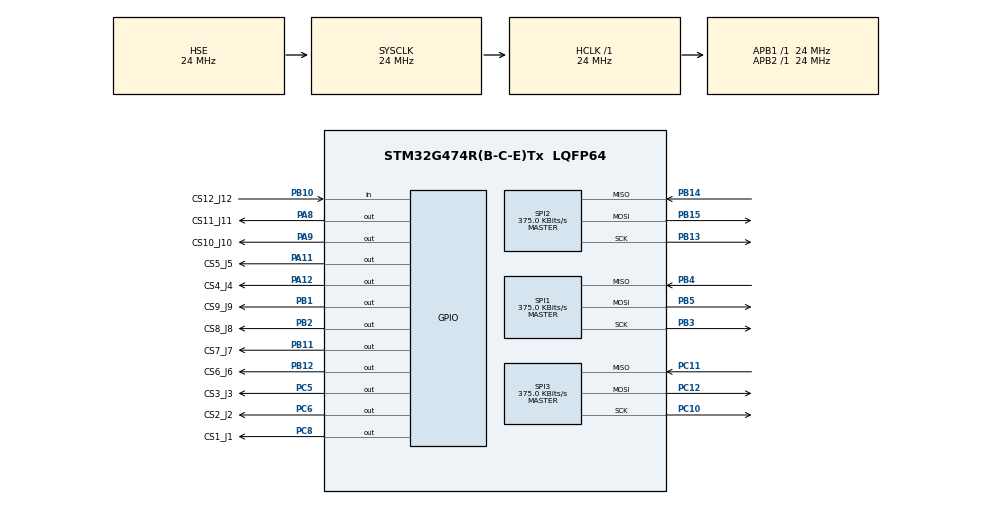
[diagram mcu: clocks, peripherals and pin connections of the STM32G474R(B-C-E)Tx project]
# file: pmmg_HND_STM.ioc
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Mcu.Family=STM32G4
Mcu.Name=STM32G474R(B-C-E)Tx
Mcu.Package=LQFP64
NUCLEO-G474RE.BUTTON=1
NUCLEO-G474RE.LD2=true
NUCLEO-G474RE.VCP=true
NVIC.EXTI15_10_IRQn=true\:0\:0\:false\:false\:true\:false\:true\:true
NVIC.PriorityGroup=NVIC_PRIORITYGROUP_4
PA11.GPIO_Label=CS5_J5
PA11.GPIO_ModeDefaultOutputPP=GPIO_MODE_OUTPUT_PP
PA11.GPIO_PuPd=GPIO_NOPULL
PA11.GPIO_Speed=GPIO_SPEED_FREQ_LOW
PA11.PinState=GPIO_PIN_SET
PA11.Signal=GPIO_Output
PA12.GPIO_Label=CS4_J4
PA12.GPIO_ModeDefaultOutputPP=GPIO_MODE_OUTPUT_PP
PA12.GPIO_PuPd=GPIO_NOPULL
PA12.GPIO_Speed=GPIO_SPEED_FREQ_LOW
PA12.PinState=GPIO_PIN_SET
PA12.Signal=GPIO_Output
PA13.GPIO_Label=T_SWDIO
PA13.Mode=Serial_Wire
PA13.Signal=SYS_JTMS-SWDIO
PA14.GPIO_Label=T_SWCLK
PA14.Mode=Serial_Wire
PA14.Signal=SYS_JTCK-SWCLK
PA2.Signal=LPUART1_TX
PA3.Signal=LPUART1_RX
PA8.GPIO_Label=CS11_J11
PA8.GPIO_ModeDefaultOutputPP=GPIO_MODE_OUTPUT_PP
PA8.GPIO_PuPd=GPIO_NOPULL
PA8.GPIO_Speed=GPIO_SPEED_FREQ_LOW
PA8.PinState=GPIO_PIN_SET
PA8.Signal=GPIO_Output
PA9.GPIO_Label=CS10_J10
PA9.GPIO_ModeDefaultOutputPP=GPIO_MODE_OUTPUT_PP
PA9.GPIO_PuPd=GPIO_NOPULL
PA9.GPIO_Speed=GPIO_SPEED_FREQ_LOW
PA9.PinState=GPIO_PIN_SET
PA9.Signal=GPIO_Output
PB1.GPIO_Label=CS9_J9
PB1.GPIO_ModeDefaultOutputPP=GPIO_MODE_OUTPUT_PP
PB1.GPIO_PuPd=GPIO_NOPULL
PB1.GPIO_Speed=GPIO_SPEED_FREQ_LOW
PB1.PinState=GPIO_PIN_SET
PB1.Signal=GPIO_Output
PB10.GPIO_Label=CS12_J12
PB10.GPIO_PuPd=GPIO_NOPULL
PB10.Signal=GPIO_Input
PB11.GPIO_Label=CS7_J7
PB11.GPIO_ModeDefaultOutputPP=GPIO_MODE_OUTPUT_PP
PB11.GPIO_PuPd=GPIO_NOPULL
PB11.GPIO_Speed=GPIO_SPEED_FREQ_LOW
PB11.PinState=GPIO_PIN_SET
PB11.Signal=GPIO_Output
PB12.GPIO_Label=CS6_J6
PB12.GPIO_ModeDefaultOutputPP=GPIO_MODE_OUTPUT_PP
PB12.GPIO_PuPd=GPIO_NOPULL
PB12.GPIO_Speed=GPIO_SPEED_FREQ_LOW
PB12.PinState=GPIO_PIN_SET
PB12.Signal=GPIO_Output
PB13.Mode=Full_Duplex_Master
PB13.Signal=SPI2_SCK
PB14.Mode=Full_Duplex_Master
PB14.Signal=SPI2_MISO
PB15.Mode=Full_Duplex_Master
PB15.Signal=SPI2_MOSI
PB2.GPIO_Label=CS8_J8
PB2.GPIO_ModeDefaultOutputPP=GPIO_MODE_OUTPUT_PP
PB2.GPIO_PuPd=GPIO_NOPULL
PB2.GPIO_Speed=GPIO_SPEED_FREQ_LOW
PB2.PinState=GPIO_PIN_SET
PB2.Signal=GPIO_Output
PB3.Mode=Full_Duplex_Master
PB3.Signal=SPI1_SCK
PB4.Mode=Full_Duplex_Master
PB4.Signal=SPI1_MISO
PB5.Mode=Full_Duplex_Master
PB5.Signal=SPI1_MOSI
PC10.Mode=Full_Duplex_Master
PC10.Signal=SPI3_SCK
PC11.Mode=Full_Duplex_Master
PC11.Signal=SPI3_MISO
PC12.Mode=Full_Duplex_Master
PC12.Signal=SPI3_MOSI
PC14-OSC32_IN.GPIO_Label=RCC_OSC32_IN
PC14-OSC32_IN.Signal=RCC_OSC32_IN
PC15-OSC32_OUT.GPIO_Label=RCC_OSC32_OUT
PC15-OSC32_OUT.Signal=RCC_OSC32_OUT
PC5.GPIO_Label=CS3_J3
PC5.GPIO_ModeDefaultOutputPP=GPIO_MODE_OUTPUT_PP
PC5.GPIO_PuPd=GPIO_NOPULL
PC5.GPIO_Speed=GPIO_SPEED_FREQ_LOW
PC5.PinState=GPIO_PIN_SET
PC5.Signal=GPIO_Output
PC6.GPIO_Label=CS2_J2
PC6.GPIO_ModeDefaultOutputPP=GPIO_MODE_OUTPUT_PP
PC6.GPIO_PuPd=GPIO_NOPULL
PC6.GPIO_Speed=GPIO_SPEED_FREQ_LOW
PC6.PinState=GPIO_PIN_SET
PC6.Signal=GPIO_Output
PC8.GPIO_Label=CS1_J1
PC8.GPIO_ModeDefaultOutputPP=GPIO_MODE_OUTPUT_PP
PC8.GPIO_PuPd=GPIO_NOPULL
PC8.GPIO_Speed=GPIO_SPEED_FREQ_LOW
PC8.PinState=GPIO_PIN_SET
PC8.Signal=GPIO_Output
PF0-OSC_IN.GPIO_Label=RCC_OSC_IN
PF0-OSC_IN.Mode=HSE-External-Oscillator
PF0-OSC_IN.Signal=RCC_OSC_IN
PF1-OSC_OUT.GPIO_Label=RCC_OSC_OUT
PF1-OSC_OUT.Mode=HSE-External-Oscillator
PF1-OSC_OUT.Signal=RCC_OSC_OUT
ProjectManager.HeapSize=0x200
ProjectManager.StackSize=0x400
ProjectManager.TargetToolchain=STM32CubeIDE
RCC.ADC12Freq_Value=24000000
RCC.ADC345Freq_Value=24000000
RCC.AHBFreq_Value=24000000
RCC.APB1Freq_Value=24000000
RCC.APB1TimFreq_Value=24000000
RCC.APB2Freq_Value=24000000
RCC.APB2TimFreq_Value=24000000
RCC.CortexFreq_Value=24000000
RCC.EXTERNAL_CLOCK_VALUE=12288000
RCC.HCLKFreq_Value=24000000
RCC.HSE_VALUE=24000000
RCC.HSI48_VALUE=48000000
RCC.HSI_VALUE=16000000
RCC.LSE_VALUE=32768
RCC.PLLM=RCC_PLLM_DIV4
RCC.PLLN=85
RCC.RTCClockSelection=RCC_RTCCLKSOURCE_LSE
RCC.SYSCLKFreq_VALUE=24000000
RCC.SYSCLKSource=RCC_SYSCLKSOURCE_HSE
RCC.USBFreq_Value=170000000
RCC.VCOOutputFreq_Value=340000000
SPI1.BaudRatePrescaler=SPI_BAUDRATEPRESCALER_64
SPI1.CalculateBaudRate=375.0 KBits/s
SPI1.DataSize=SPI_DATASIZE_8BIT
SPI1.Direction=SPI_DIRECTION_2LINES
SPI1.Mode=SPI_MODE_MASTER
SPI1.NSSPMode=SPI_NSS_PULSE_DISABLE
SPI1.VirtualType=VM_MASTER
SPI2.BaudRatePrescaler=SPI_BAUDRATEPRESCALER_64
SPI2.CalculateBaudRate=375.0 KBits/s
SPI2.DataSize=SPI_DATASIZE_8BIT
SPI2.Direction=SPI_DIRECTION_2LINES
SPI2.Mode=SPI_MODE_MASTER
SPI2.NSSPMode=SPI_NSS_PULSE_DISABLE
SPI2.VirtualType=VM_MASTER
SPI3.BaudRatePrescaler=SPI_BAUDRATEPRESCALER_64
SPI3.CalculateBaudRate=375.0 KBits/s
SPI3.DataSize=SPI_DATASIZE_8BIT
SPI3.Direction=SPI_DIRECTION_2LINES
SPI3.Mode=SPI_MODE_MASTER
SPI3.NSSPMode=SPI_NSS_PULSE_DISABLE
SPI3.VirtualType=VM_MASTER
VP_NUCLEO-G474RE_VS_BSP_COMMON.Mode=COMMON
VP_SYS_VS_DBSignals.Mode=DisableDeadBatterySignals
board=NUCLEO-G474RE

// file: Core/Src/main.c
/* USER CODE BEGIN Header */
/**
  ******************************************************************************
  * @file           : main.c
  * @brief          : Main program body
  *
  * Application overview:
  * Generated HAL, clocks, GPIO, SPI and BSP initialization runs first. The user
  * application then starts LD2 status indication and the MS5607 driver. Each
  * main-loop pass services sensor acquisition; LED updates use the HAL ms tick.
  * Sensor configuration is in ms5607.h/ms5607.c. A zero sensor mask leaves
  * the 500 ms ON / 500 ms OFF heartbeat active for board-only testing.
  * The shared 1 MHz TIM2 timebase starts first; the sync input then takes over
  * J12/PB10 (a GPIO input from reset) for TIM2 capture of XM pulses
  * (sync_input.h). The Nucleo never drives PB10 while the sync input is enabled.
  * The stream module sends binary frames through the ST-LINK USB VCP, including
  * periodic status snapshots when sensors are disabled. SPI/UART callbacks below
  * forward completion events. B1 (user button) is the sensor re-init control: an
  * accepted press is marked in the stream and requests a re-init of all enabled
  * sensors; LD2 stays on while it runs. Application changes remain in USER CODE
  * sections.
  ******************************************************************************
  * @attention
  *
  * Copyright (c) 2026 STMicroelectronics.
  * All rights reserved.
  *
  * This software is licensed under terms that can be found in the LICENSE file
  * in the root directory of this software component.
  * If no LICENSE file comes with this software, it is provided AS-IS.
  *
  ******************************************************************************
  */
/* USER CODE END Header */
#include "main.h"

/* USER CODE BEGIN Includes */
#include "ms5607.h"
#include "status_led.h"
#include "stream.h"
#include "sync_input.h"
#include "timebase.h"
/* USER CODE END Includes */

COM_InitTypeDef BspCOMInit;
SPI_HandleTypeDef hspi1;
SPI_HandleTypeDef hspi2;
SPI_HandleTypeDef hspi3;

void SystemClock_Config(void);
static void MX_GPIO_Init(void);
static void MX_SPI1_Init(void);
static void MX_SPI2_Init(void);
static void MX_SPI3_Init(void);

int main(void)
{

  /* MCU Configuration--------------------------------------------------------*/

  /* Reset of all peripherals, Initializes the Flash interface and the Systick. */
  HAL_Init();

  /* Configure the system clock */
  SystemClock_Config();

  /* Initialize all configured peripherals */
  MX_GPIO_Init();
  MX_SPI1_Init();
  MX_SPI2_Init();
  MX_SPI3_Init();

  /* Initialize led */
  BSP_LED_Init(LED_GREEN);

  /* Initialize USER push-button, will be used to trigger an interrupt each time it's pressed.*/
  BSP_PB_Init(BUTTON_USER, BUTTON_MODE_EXTI);

  /* Initialize COM1 port (115200, 8 bits (7-bit data + 1 stop bit), no parity */
  BspCOMInit.BaudRate   = 115200;
  BspCOMInit.WordLength = COM_WORDLENGTH_8B;
  BspCOMInit.StopBits   = COM_STOPBITS_1;
  BspCOMInit.Parity     = COM_PARITY_NONE;
  BspCOMInit.HwFlowCtl  = COM_HWCONTROL_NONE;
  if (BSP_COM_Init(COM1, &BspCOMInit) != BSP_ERROR_NONE)
  {
    Error_Handler();
  }

  /* Infinite loop */
  /* USER CODE BEGIN WHILE */
  /* Application startup must follow BSP LED/COM initialization above.
   * Sensor selection and sampling rate are configured in ms5607.h.
   * Its zero mask gives no SPI traffic. Streaming still reports disabled slots.
   * stream.c sets the VCP streaming baud after the generated BSP initialization. */
  status_led_init();
  (void)timebase_init(); /* Once per boot; a failure is reported by each enabled user below. */
  sync_input_init();     /* Before the sensor driver, which must not drive PB10. */
  ms5607_init(&hspi1, &hspi2, &hspi3);
  (void)stream_init(&hcom_uart[COM1]); /* Failure is reported through the LED/diagnostics. */
  uint32_t last_led_ms = HAL_GetTick(); /* Last tick serviced by the LED module. */
  while (1)
  {

    /* USER CODE END WHILE */

    /* USER CODE BEGIN 3 */
    ms5607_process(); /* No bus traffic while the driver enabled mask is zero. */
    sync_input_process(); /* Pair captured XM edges before the stream takes markers. */
    stream_process(); /* Consume new frames and service queued UART DMA output. */
    uint32_t now_ms = HAL_GetTick(); /* Current tick; only LED work is gated at 1 ms. */
    if (now_ms != last_led_ms)
    {
      last_led_ms = now_ms;
      MS5607_Status status = ms5607_status(); /* Sensor activity, re-init or current/recent fault. */
      StatusLedMode led_mode = STATUS_LED_IDLE; /* Selected LD2 pattern, idle by default. */
      if (status == MS5607_REINITIALIZING) /* B1 acknowledgement; status_led keeps it >= 500 ms. */
        led_mode = STATUS_LED_REINIT;
      else if (status == MS5607_FAULT || stream_faulted())
        led_mode = STATUS_LED_FAULT;
      else if (status == MS5607_ACQUIRING)
        led_mode = STATUS_LED_ACQUIRING;
      status_led_update(led_mode, now_ms);
    }
  }
  /* USER CODE END 3 */
}

void SystemClock_Config(void)
{
  RCC_OscInitTypeDef RCC_OscInitStruct = {0};
  RCC_ClkInitTypeDef RCC_ClkInitStruct = {0};

  /** Configure the main internal regulator output voltage
  */
  HAL_PWREx_ControlVoltageScaling(PWR_REGULATOR_VOLTAGE_SCALE1);

  /** Initializes the RCC Oscillators according to the specified parameters
  * in the RCC_OscInitTypeDef structure.
  */
  RCC_OscInitStruct.OscillatorType = RCC_OSCILLATORTYPE_HSE;
  RCC_OscInitStruct.HSEState = RCC_HSE_ON;
  RCC_OscInitStruct.PLL.PLLState = RCC_PLL_NONE;
  if (HAL_RCC_OscConfig(&RCC_OscInitStruct) != HAL_OK)
  {
    Error_Handler();
  }

  /** Initializes the CPU, AHB and APB buses clocks
  */
  RCC_ClkInitStruct.ClockType = RCC_CLOCKTYPE_HCLK|RCC_CLOCKTYPE_SYSCLK
                              |RCC_CLOCKTYPE_PCLK1|RCC_CLOCKTYPE_PCLK2;
  RCC_ClkInitStruct.SYSCLKSource = RCC_SYSCLKSOURCE_HSE;
  RCC_ClkInitStruct.AHBCLKDivider = RCC_SYSCLK_DIV1;
  RCC_ClkInitStruct.APB1CLKDivider = RCC_HCLK_DIV1;
  RCC_ClkInitStruct.APB2CLKDivider = RCC_HCLK_DIV1;

  if (HAL_RCC_ClockConfig(&RCC_ClkInitStruct, FLASH_LATENCY_0) != HAL_OK)
  {
    Error_Handler();
  }
}

static void MX_SPI1_Init(void)
{

  /* SPI1 parameter configuration*/
  hspi1.Instance = SPI1;
  hspi1.Init.Mode = SPI_MODE_MASTER;
  hspi1.Init.Direction = SPI_DIRECTION_2LINES;
  hspi1.Init.DataSize = SPI_DATASIZE_8BIT;
  hspi1.Init.CLKPolarity = SPI_POLARITY_LOW;
  hspi1.Init.CLKPhase = SPI_PHASE_1EDGE;
  hspi1.Init.NSS = SPI_NSS_SOFT;
  hspi1.Init.BaudRatePrescaler = SPI_BAUDRATEPRESCALER_64;
  hspi1.Init.FirstBit = SPI_FIRSTBIT_MSB;
  hspi1.Init.TIMode = SPI_TIMODE_DISABLE;
  hspi1.Init.CRCCalculation = SPI_CRCCALCULATION_DISABLE;
  hspi1.Init.CRCPolynomial = 7;
  hspi1.Init.CRCLength = SPI_CRC_LENGTH_DATASIZE;
  hspi1.Init.NSSPMode = SPI_NSS_PULSE_DISABLE;
  if (HAL_SPI_Init(&hspi1) != HAL_OK)
  {
    Error_Handler();
  }

}

static void MX_SPI2_Init(void)
{

  /* SPI2 parameter configuration*/
  hspi2.Instance = SPI2;
  hspi2.Init.Mode = SPI_MODE_MASTER;
  hspi2.Init.Direction = SPI_DIRECTION_2LINES;
  hspi2.Init.DataSize = SPI_DATASIZE_8BIT;
  hspi2.Init.CLKPolarity = SPI_POLARITY_LOW;
  hspi2.Init.CLKPhase = SPI_PHASE_1EDGE;
  hspi2.Init.NSS = SPI_NSS_SOFT;
  hspi2.Init.BaudRatePrescaler = SPI_BAUDRATEPRESCALER_64;
  hspi2.Init.FirstBit = SPI_FIRSTBIT_MSB;
  hspi2.Init.TIMode = SPI_TIMODE_DISABLE;
  hspi2.Init.CRCCalculation = SPI_CRCCALCULATION_DISABLE;
  hspi2.Init.CRCPolynomial = 7;
  hspi2.Init.CRCLength = SPI_CRC_LENGTH_DATASIZE;
  hspi2.Init.NSSPMode = SPI_NSS_PULSE_DISABLE;
  if (HAL_SPI_Init(&hspi2) != HAL_OK)
  {
    Error_Handler();
  }

}

static void MX_SPI3_Init(void)
{

  /* SPI3 parameter configuration*/
  hspi3.Instance = SPI3;
  hspi3.Init.Mode = SPI_MODE_MASTER;
  hspi3.Init.Direction = SPI_DIRECTION_2LINES;
  hspi3.Init.DataSize = SPI_DATASIZE_8BIT;
  hspi3.Init.CLKPolarity = SPI_POLARITY_LOW;
  hspi3.Init.CLKPhase = SPI_PHASE_1EDGE;
  hspi3.Init.NSS = SPI_NSS_SOFT;
  hspi3.Init.BaudRatePrescaler = SPI_BAUDRATEPRESCALER_64;
  hspi3.Init.FirstBit = SPI_FIRSTBIT_MSB;
  hspi3.Init.TIMode = SPI_TIMODE_DISABLE;
  hspi3.Init.CRCCalculation = SPI_CRCCALCULATION_DISABLE;
  hspi3.Init.CRCPolynomial = 7;
  hspi3.Init.CRCLength = SPI_CRC_LENGTH_DATASIZE;
  hspi3.Init.NSSPMode = SPI_NSS_PULSE_DISABLE;
  if (HAL_SPI_Init(&hspi3) != HAL_OK)
  {
    Error_Handler();
  }

}

static void MX_GPIO_Init(void)
{
  GPIO_InitTypeDef GPIO_InitStruct = {0};

  /* GPIO Ports Clock Enable */
  __HAL_RCC_GPIOC_CLK_ENABLE();
  __HAL_RCC_GPIOF_CLK_ENABLE();
  __HAL_RCC_GPIOB_CLK_ENABLE();
  __HAL_RCC_GPIOA_CLK_ENABLE();

  /*Configure GPIO pin Output Level */
  HAL_GPIO_WritePin(GPIOC, CS3_J3_Pin|CS2_J2_Pin|CS1_J1_Pin, GPIO_PIN_SET);

  /*Configure GPIO pin Output Level */
  HAL_GPIO_WritePin(GPIOB, CS9_J9_Pin|CS8_J8_Pin|CS7_J7_Pin|CS6_J6_Pin, GPIO_PIN_SET);

  /*Configure GPIO pin Output Level */
  HAL_GPIO_WritePin(GPIOA, CS11_J11_Pin|CS10_J10_Pin|CS5_J5_Pin|CS4_J4_Pin, GPIO_PIN_SET);

  /*Configure GPIO pins : CS3_J3_Pin CS2_J2_Pin CS1_J1_Pin */
  GPIO_InitStruct.Pin = CS3_J3_Pin|CS2_J2_Pin|CS1_J1_Pin;
  GPIO_InitStruct.Mode = GPIO_MODE_OUTPUT_PP;
  GPIO_InitStruct.Pull = GPIO_NOPULL;
  GPIO_InitStruct.Speed = GPIO_SPEED_FREQ_LOW;
  HAL_GPIO_Init(GPIOC, &GPIO_InitStruct);

  /*Configure GPIO pins : CS9_J9_Pin CS8_J8_Pin CS7_J7_Pin CS6_J6_Pin */
  GPIO_InitStruct.Pin = CS9_J9_Pin|CS8_J8_Pin|CS7_J7_Pin|CS6_J6_Pin;
  GPIO_InitStruct.Mode = GPIO_MODE_OUTPUT_PP;
  GPIO_InitStruct.Pull = GPIO_NOPULL;
  GPIO_InitStruct.Speed = GPIO_SPEED_FREQ_LOW;
  HAL_GPIO_Init(GPIOB, &GPIO_InitStruct);

  /*Configure GPIO pin : CS12_J12_Pin */
  GPIO_InitStruct.Pin = CS12_J12_Pin;
  GPIO_InitStruct.Mode = GPIO_MODE_INPUT;
  GPIO_InitStruct.Pull = GPIO_NOPULL;
  HAL_GPIO_Init(CS12_J12_GPIO_Port, &GPIO_InitStruct);

  /*Configure GPIO pins : CS11_J11_Pin CS10_J10_Pin CS5_J5_Pin CS4_J4_Pin */
  GPIO_InitStruct.Pin = CS11_J11_Pin|CS10_J10_Pin|CS5_J5_Pin|CS4_J4_Pin;
  GPIO_InitStruct.Mode = GPIO_MODE_OUTPUT_PP;
  GPIO_InitStruct.Pull = GPIO_NOPULL;
  GPIO_InitStruct.Speed = GPIO_SPEED_FREQ_LOW;
  HAL_GPIO_Init(GPIOA, &GPIO_InitStruct);

}

/* USER CODE BEGIN 4 */
/**
  * @brief  Forward B1 press edges to the stream debounce and request a sensor re-init.
  * @param  Button BSP button identifier; only the user button is handled.
  * @note   EXTI context. Both hooks only update flags/counters. The main loop
  *         queues the event flag, even without sensors, and the driver starts
  *         the re-init after the current cycle (ignored with no enabled sensor).
  * @retval None
  */
void BSP_PB_Callback(Button_TypeDef Button)
{
  if (Button == BUTTON_USER) {
    if (stream_button_pressed()) {
      ms5607_request_reinit();
    }
  }
}

/**
  * @brief  Forward a completed SPI transfer to the MS5607 driver.
  * @param  hspi HAL handle for the peripheral that completed its transfer.
  * @note   Called by HAL in interrupt context; the driver releases the sensor CS.
  * @retval None
  */
void HAL_SPI_TxRxCpltCallback(SPI_HandleTypeDef *hspi)
{
  ms5607_spi_complete(hspi);
}

/**
  * @brief  Forward a SPI error to the MS5607 driver's deferred recovery path.
  * @param  hspi HAL handle for the peripheral that reported the error.
  * @note   Called in interrupt context; recovery is handled by the main loop.
  * @retval None
  */
void HAL_SPI_ErrorCallback(SPI_HandleTypeDef *hspi)
{
  ms5607_spi_error(hspi);
}

/**
  * @brief  Forward final UART wire completion to the streaming queue.
  * @param  huart HAL handle for the completed UART transmission.
  * @retval None
  */
void HAL_UART_TxCpltCallback(UART_HandleTypeDef *huart)
{
  stream_uart_complete(huart);
}

/**
  * @brief  Record UART/DMA errors for streaming recovery in the main loop.
  * @param  huart HAL handle for the failed transmission.
  * @retval None
  */
void HAL_UART_ErrorCallback(UART_HandleTypeDef *huart)
{
  stream_uart_error(huart);
}
/* USER CODE END 4 */

void Error_Handler(void)
{
  __disable_irq();
  while (1)
  {
  }
}
